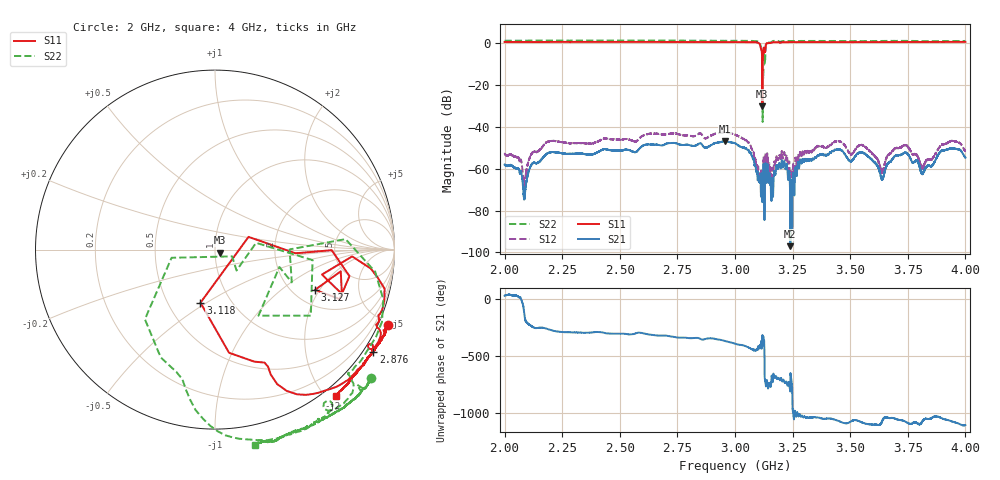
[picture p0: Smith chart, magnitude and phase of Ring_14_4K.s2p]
!Agilent Technologies,N5230C,SG49000117,A.08.50.07
!Agilent N5230C: A.08.50.07
!Date: Tuesday, May 07, 2024 00:23:25
!Correction: S11(Full 2 Port(1,2))
!S21(Full 2 Port(1,2))
!S12(Full 2 Port(1,2))
!S22(Full 2 Port(1,2))
!S2P File: Measurements: S11, S21, S12, S22:
# Hz S  MA  R 50
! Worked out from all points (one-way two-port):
!   20001 points, 2 GHz to 4 GHz, reference 50 ohm
!   highest |S21| = -46.88 dB at 2.956 GHz (marker M1); lowest = -97.0 dB at 3.24 GHz (marker M2)
!   lowest |S11| = -30.2 dB at 3.119 GHz (marker M3), VSWR 1.06, Z = 52.6 - j1.86 ohm
!   |S11| at or under -10 dB: 3.11797 GHz to 3.119693 GHz (1.724 MHz wide, 0.0553 % of centre)
!   |S22| runs from -37.7 to 1.2 dB; largest |S21 - S12| = 0.0039
!   S11 on the Smith chart (normalised r, x): 2 GHz: -0.60, -4.72; 2.876 GHz: -0.30, -3.38; 3.118 GHz: 0.72, -0.47; 3.127 GHz: 2.60, -1.82; 4 GHz: -0.15, -2.11
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2e9  1.052 -23.6  0.001256 25.4  0.002293 6.6  1.127 -39.4
2.0869e9  1.051 -24.4  0.0002091 -157.3  0.0003778 -175.4  1.131 -40.5
2.1841e9  1.049 -25.0  0.002273 96.2  0.004319 76.5  1.138 -41.9
2.3334e9  1.058 -26.5  0.002302 61.8  0.00408 42.3  1.134 -44.5
2.6667e9  1.053 -29.6  0.003695 36.7  0.006721 13.1  1.134 -50.1
2.8764e9  1.05 -32.7  0.003194 9.8  0.005336 -14.8  1.123 -55.4
2.956e9  1.046 -34.5  0.004529 -10.6  0.007236 -36.7  1.121 -58.1
3e9  1.044 -35.8  0.004034 -34.1  0.006462 -60.1  1.119 -60.1
3.0981e9  1.016 -49.2  0.0006128 -84.6  0.0008315 -114.2  1.084 -78.2
3.118e9  0.3068 -105.3  0.0002825 -33.3  0.0002559 -45.2  0.5504 -135.2
3.1188e9  0.031 -34.8  0.0002355 -19.9  0.0002456 -34.8  0.3878 -154.0
3.1271e9  0.601 -21.9  0.0009469 -44.3  0.001256 -54.8  0.4406 -56.6
3.1421e9  0.9837 -21.7  0.00124 -43.9  0.002198 -59.4  1.023 -37.0
3.1599e9  1.015 -25.8  0.0004776 34.9  0.0008076 13.8  1.062 -43.9
3.2092e9  1.039 -32.2  0.001179 9.8  0.001941 -13.5  1.105 -54.6
3.2402e9  1.046 -34.3  1.415e-05 -72.8  3.06e-05 -120.8  1.113 -57.5
3.3334e9  1.048 -37.3  0.001597 41.3  0.002516 18.3  1.115 -61.6
3.5524e9  1.048 -41.5  0.002446 -3.9  0.003656 -31.6  1.105 -68.5
3.6378e9  1.048 -43.7  0.0005673 2.1  0.0008122 -20.2  1.111 -70.6
3.6667e9  1.049 -44.1  0.001367 36.5  0.002176 9.0  1.11 -71.7
3.8133e9  1.051 -46.9  0.0007673 7.0  0.001059 -18.6  1.102 -75.3
4e9  1.055 -50.4  0.00184 -26.6  0.002597 -56.5  1.111 -78.5
